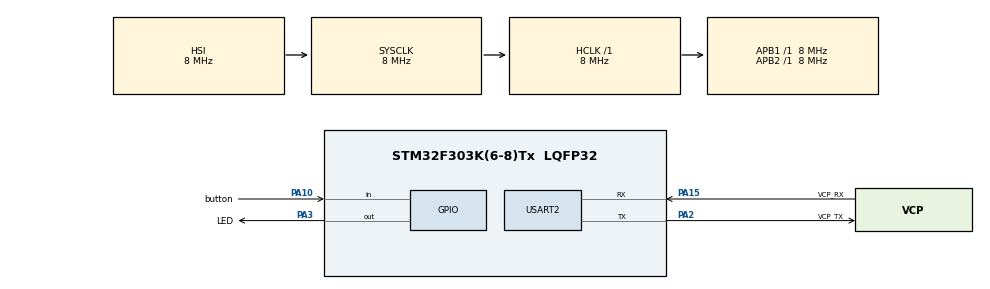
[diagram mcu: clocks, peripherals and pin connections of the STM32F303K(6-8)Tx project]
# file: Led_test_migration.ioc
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Mcu.Family=STM32F3
Mcu.Name=STM32F303K(6-8)Tx
Mcu.Package=LQFP32
NVIC.PriorityGroup=NVIC_PRIORITYGROUP_4
PA10.GPIO_Label=button
PA10.Signal=GPIO_Input
PA13.GPIO_Label=SWDIO
PA13.Mode=Serial_Wire
PA13.Signal=SYS_JTMS-SWDIO
PA14.GPIO_Label=SWCLK
PA14.Mode=Serial_Wire
PA14.Signal=SYS_JTCK-SWCLK
PA15.GPIO_Label=VCP_RX
PA15.Mode=Asynchronous
PA15.Signal=USART2_RX
PA2.GPIO_Label=VCP_TX
PA2.Mode=Asynchronous
PA2.Signal=USART2_TX
PA3.GPIO_Label=LED
PA3.Signal=GPIO_Output
PF0\ /\ OSC_IN.GPIO_Label=MCO
PF0\ /\ OSC_IN.Mode=HSE-External-Clock-Source
PF0\ /\ OSC_IN.Signal=RCC_OSC_IN
ProjectManager.HeapSize=0x200
ProjectManager.StackSize=0x400
ProjectManager.TargetToolchain=STM32CubeIDE
RCC.AHBFreq_Value=8000000
RCC.APB1Freq_Value=8000000
RCC.APB2Freq_Value=8000000
RCC.CortexFreq_Value=8000000
RCC.HSE_VALUE=8000000
RCC.HSI_VALUE=8000000
RCC.SYSCLKFreq_VALUE=8000000
USART2.VirtualMode-Asynchronous=VM_ASYNC
board=NUCLEO-F303K8

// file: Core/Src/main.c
/* USER CODE BEGIN Header */
/**
  ******************************************************************************
  * @file           : main.c
  * @brief          : Main program body
  ******************************************************************************
  * @attention
  *
  * Copyright (c) 2023 STMicroelectronics.
  * All rights reserved.
  *
  * This software is licensed under terms that can be found in the LICENSE file
  * in the root directory of this software component.
  * If no LICENSE file comes with this software, it is provided AS-IS.
  *
  ******************************************************************************
  */
/* USER CODE END Header */
#include "main.h"

/* USER CODE BEGIN PTD */
typedef enum
{
    LED_OFF,
    LED_ON_START,
    LED_DIM_ON,
    LED_DIM_OFF,
    LED_ON
}led_state_t;

/* USER CODE END PTD */

UART_HandleTypeDef huart2;

/* USER CODE BEGIN PV */
static led_state_t led_state = LED_OFF;
static uint32_t led_dim = 0;
static uint32_t led_target = 0;
static uint32_t led_delay = 100;
static uint32_t pulsos = 0;
static uint32_t cont = 0;

TIM_HandleTypeDef  TimHandle;
/* USER CODE END PV */

void SystemClock_Config(void);
static void MX_GPIO_Init(void);
static void MX_USART2_UART_Init(void);

/* USER CODE BEGIN PFP */
static void GPIO_init(void);
static void EXTI15_10_IRQHandler_Config(void);
static void TIM_Init(void);
static void generate_Dimmer(void);
static void LED_CTRL_vfnChangeIntensity (void);
static void LED_CTRL_vfnPeriodElapsedCallback (void);
//void HAL_TIM_PeriodElapsedCallback(void);
/* USER CODE END PFP */

/* USER CODE BEGIN 0 */
__IO uint32_t uwPrescalerValue = 0;
/* USER CODE END 0 */

int main(void)
{

  /* MCU Configuration--------------------------------------------------------*/

  /* Reset of all peripherals, Initializes the Flash interface and the Systick. */
  HAL_Init();

  /* Configure the system clock */
  SystemClock_Config();

  /* Initialize all configured peripherals */
  MX_GPIO_Init();
  MX_USART2_UART_Init();
  /* USER CODE BEGIN 2 */
  EXTI15_10_IRQHandler_Config();
  GPIO_init();
  TIM_Init();
  generate_Dimmer();
  /* USER CODE END 2 */
  // led 1
  while (cont <32)
  {
	  LED_CTRL_vfnChangeIntensity();
	  HAL_Delay(1000);
	  cont++;

  }

//    //led 2
//    LED_CTRL_vfnChangeIntensity();
//    HAL_Delay(4000);
//    //led 3
//    LED_CTRL_vfnChangeIntensity();
//    HAL_Delay(4000);
//    // led 4
//    LED_CTRL_vfnChangeIntensity();
//    HAL_Delay(4000);
//    //led 5
//    LED_CTRL_vfnChangeIntensity();
//    HAL_Delay(4000);
//    //led 6
//    LED_CTRL_vfnChangeIntensity();
//    HAL_Delay(4000);
//    // led 7
//     LED_CTRL_vfnChangeIntensity();
//     HAL_Delay(4000);
//     //led 8
//     LED_CTRL_vfnChangeIntensity();
//     HAL_Delay(4000);
//     //led 9
//     LED_CTRL_vfnChangeIntensity();
//     HAL_Delay(4000);
//     //led 10
//     LED_CTRL_vfnChangeIntensity();
//     HAL_Delay(4000);
//
//
//
//     // led 1
//     LED_CTRL_vfnChangeIntensity();
//     HAL_Delay(4000);
//     //led 2
//     LED_CTRL_vfnChangeIntensity();
//     HAL_Delay(4000);
//     //led 3
//     LED_CTRL_vfnChangeIntensity();
//     HAL_Delay(4000);
//     // led 4
//     LED_CTRL_vfnChangeIntensity();
//     HAL_Delay(4000);
//     //led 5
//     LED_CTRL_vfnChangeIntensity();
//     HAL_Delay(4000);
//     //led 6
//     LED_CTRL_vfnChangeIntensity();
//     HAL_Delay(4000);
//     // led 7
//      LED_CTRL_vfnChangeIntensity();
//      HAL_Delay(4000);
//      //led 8
//      LED_CTRL_vfnChangeIntensity();
//      HAL_Delay(4000);
//      //led 9
//      LED_CTRL_vfnChangeIntensity();
//      HAL_Delay(4000);
//      //led 10
//      LED_CTRL_vfnChangeIntensity();
//      HAL_Delay(4000);
//
//
//
//
//      // led 1
//      LED_CTRL_vfnChangeIntensity();
//      HAL_Delay(4000);
//      //led 2
//      LED_CTRL_vfnChangeIntensity();
//      HAL_Delay(4000);
//      //led 3
//      LED_CTRL_vfnChangeIntensity();
//      HAL_Delay(4000);
//      // led 4
//      LED_CTRL_vfnChangeIntensity();
//      HAL_Delay(4000);
//      //led 5
//      LED_CTRL_vfnChangeIntensity();
//      HAL_Delay(4000);
//      //led 6
//      LED_CTRL_vfnChangeIntensity();
//      HAL_Delay(4000);
//      // led 7
//       LED_CTRL_vfnChangeIntensity();
//       HAL_Delay(4000);
//       //led 8
//       LED_CTRL_vfnChangeIntensity();
//       HAL_Delay(4000);
//       //led 9
//       LED_CTRL_vfnChangeIntensity();
//       HAL_Delay(4000);
//       //led 10
//       LED_CTRL_vfnChangeIntensity();
//       HAL_Delay(4000);
//
//
//
//       // led 1
//       LED_CTRL_vfnChangeIntensity();
//       HAL_Delay(4000);
//       //led 2
//       LED_CTRL_vfnChangeIntensity();
//       HAL_Delay(4000);
  /* Infinite loop */
  while (1)
  {

  }
}

void SystemClock_Config(void)
{
  RCC_OscInitTypeDef RCC_OscInitStruct = {0};
  RCC_ClkInitTypeDef RCC_ClkInitStruct = {0};

  /** Initializes the RCC Oscillators according to the specified parameters
  * in the RCC_OscInitTypeDef structure.
  */
  RCC_OscInitStruct.OscillatorType = RCC_OSCILLATORTYPE_HSI;
  RCC_OscInitStruct.HSIState = RCC_HSI_ON;
  RCC_OscInitStruct.HSICalibrationValue = RCC_HSICALIBRATION_DEFAULT;
  RCC_OscInitStruct.PLL.PLLState = RCC_PLL_NONE;
  if (HAL_RCC_OscConfig(&RCC_OscInitStruct) != HAL_OK)
  {
    Error_Handler();
  }

  /** Initializes the CPU, AHB and APB buses clocks
  */
  RCC_ClkInitStruct.ClockType = RCC_CLOCKTYPE_HCLK|RCC_CLOCKTYPE_SYSCLK
                              |RCC_CLOCKTYPE_PCLK1|RCC_CLOCKTYPE_PCLK2;
  RCC_ClkInitStruct.SYSCLKSource = RCC_SYSCLKSOURCE_HSI;
  RCC_ClkInitStruct.AHBCLKDivider = RCC_SYSCLK_DIV1;
  RCC_ClkInitStruct.APB1CLKDivider = RCC_HCLK_DIV1;
  RCC_ClkInitStruct.APB2CLKDivider = RCC_HCLK_DIV1;

  if (HAL_RCC_ClockConfig(&RCC_ClkInitStruct, FLASH_LATENCY_0) != HAL_OK)
  {
    Error_Handler();
  }
}

static void MX_USART2_UART_Init(void)
{

  huart2.Instance = USART2;
  huart2.Init.BaudRate = 38400;
  huart2.Init.WordLength = UART_WORDLENGTH_8B;
  huart2.Init.StopBits = UART_STOPBITS_1;
  huart2.Init.Parity = UART_PARITY_NONE;
  huart2.Init.Mode = UART_MODE_TX_RX;
  huart2.Init.HwFlowCtl = UART_HWCONTROL_NONE;
  huart2.Init.OverSampling = UART_OVERSAMPLING_16;
  huart2.Init.OneBitSampling = UART_ONE_BIT_SAMPLE_DISABLE;
  huart2.AdvancedInit.AdvFeatureInit = UART_ADVFEATURE_NO_INIT;
  if (HAL_UART_Init(&huart2) != HAL_OK)
  {
    Error_Handler();
  }

}

static void MX_GPIO_Init(void)
{
  GPIO_InitTypeDef GPIO_InitStruct = {0};

  /* GPIO Ports Clock Enable */
  __HAL_RCC_GPIOF_CLK_ENABLE();
  __HAL_RCC_GPIOA_CLK_ENABLE();

  /*Configure GPIO pin Output Level */
  HAL_GPIO_WritePin(LED_GPIO_Port, LED_Pin, GPIO_PIN_RESET);

  /*Configure GPIO pin : LED_Pin */
  GPIO_InitStruct.Pin = LED_Pin;
  GPIO_InitStruct.Mode = GPIO_MODE_OUTPUT_PP;
  GPIO_InitStruct.Pull = GPIO_NOPULL;
  GPIO_InitStruct.Speed = GPIO_SPEED_FREQ_LOW;
  HAL_GPIO_Init(LED_GPIO_Port, &GPIO_InitStruct);

  /*Configure GPIO pin : button_Pin */
  GPIO_InitStruct.Pin = button_Pin;
  GPIO_InitStruct.Mode = GPIO_MODE_INPUT;
  GPIO_InitStruct.Pull = GPIO_NOPULL;
  HAL_GPIO_Init(button_GPIO_Port, &GPIO_InitStruct);

}

/* USER CODE BEGIN 4 */

static void TIM_Init(void)
{
//    /* Compute the prescaler value to have TIMx counter clock equal to 10000 Hz */
//    uwPrescalerValue = (uint32_t)(SystemCoreClock / 100000) - 1;
//
//
//
//    /* Set TIMx instance */
//    TimHandle.Instance = TIM3;
//
//
//
//    /* Initialize TIMx peripheral as follows:
//           + Period = 10000 - 1
//           + Prescaler = (SystemCoreClock/10000) - 1
//           + ClockDivision = 0
//           + Counter direction = Up
//     */
//    TimHandle.Init.Period            = 10 - 1; //10 us
//    TimHandle.Init.Prescaler         = uwPrescalerValue;
//    TimHandle.Init.ClockDivision     = 0;
//    TimHandle.Init.CounterMode       = TIM_COUNTERMODE_UP;
//    TimHandle.Init.RepetitionCounter = 0;
//
//
//
//    if (HAL_TIM_Base_Init(&TimHandle) != HAL_OK)
//    {
//        /* Initialization Error */
//        Error_Handler();
//    }

	TIM_ClockConfigTypeDef sClockSourceConfig = {0};
	    TIM_MasterConfigTypeDef sMasterConfig = {0};
	    /* Compute the prescaler value to have TIMx counter clock equal to 10000 Hz */
	    uwPrescalerValue = (uint32_t)(SystemCoreClock / 100000) - 1;

	    /* Set TIMx instance */
	    TimHandle.Instance = TIM3;

	    /* Initialize TIMx peripheral as follows:
	           + Period = 10000 - 1
	           + Prescaler = (SystemCoreClock/10000) - 1
	           + ClockDivision = 0
	           + Counter direction = Up
	     */
	    TimHandle.Init.Period            = 10 - 1; //10 us
	    TimHandle.Init.Prescaler         = uwPrescalerValue;
	    TimHandle.Init.ClockDivision     = 0;
	    TimHandle.Init.CounterMode       = TIM_COUNTERMODE_UP;
	    TimHandle.Init.RepetitionCounter = 0;

	    if (HAL_TIM_Base_Init(&TimHandle) != HAL_OK)
	    {
	        /* Initialization Error */
	        Error_Handler();
	    }

	    sClockSourceConfig.ClockSource = TIM_CLOCKSOURCE_INTERNAL;
	    if (HAL_TIM_ConfigClockSource(&TimHandle, &sClockSourceConfig) != HAL_OK)
	    {
	        Error_Handler();
	    }

	    sMasterConfig.MasterOutputTrigger = TIM_TRGO_RESET;
	    sMasterConfig.MasterSlaveMode = TIM_MASTERSLAVEMODE_DISABLE;
	    if (HAL_TIMEx_MasterConfigSynchronization(&TimHandle, &sMasterConfig) != HAL_OK)
	    {
	        Error_Handler();
	    }
}

void HAL_TIM_Base_MspInit(TIM_HandleTypeDef* htim)
{

    if(htim->Instance==TIM2)
    {
        /* USER CODE BEGIN TIM2_MspInit 0 */

        /* USER CODE END TIM2_MspInit 0 */
        /* TIM2 clock enable */
        __HAL_RCC_TIM2_CLK_ENABLE();
        /* USER CODE BEGIN TIM2_MspInit 1 */

        /* NVIC configuration for DMA transfer complete interrupt */
        // HAL_NVIC_SetPriority( TIM2_IRQn, configLIBRARY_MAX_SYSCALL_INTERRUPT_PRIORITY + 1, 0 );
        HAL_NVIC_EnableIRQ( TIM2_IRQn );

        /* USER CODE END TIM2_MspInit 1 */
    }
    else if(htim->Instance == TIM3)
    {
        __HAL_RCC_TIM3_CLK_ENABLE();

        HAL_NVIC_SetPriority(TIM3_IRQn, 3, 0);
        HAL_NVIC_DisableIRQ(TIM3_IRQn);
    }
}

void HAL_TIM_Base_MspDeInit(TIM_HandleTypeDef* htim)
{

    if(htim->Instance==TIM2)
    {
        /* USER CODE BEGIN TIM2_MspDeInit 0 */

        /* USER CODE END TIM2_MspDeInit 0 */
        /* Peripheral clock disable */
        __HAL_RCC_TIM2_CLK_DISABLE();
        /* USER CODE BEGIN TIM2_MspDeInit 1 */
        HAL_NVIC_DisableIRQ( TIM2_IRQn );
        /* USER CODE END TIM2_MspDeInit 1 */
    }
    else if(htim->Instance==TIM3)
    {
        /* USER CODE BEGIN TIM2_MspDeInit 0 */

        /* USER CODE END TIM2_MspDeInit 0 */
        /* Peripheral clock disable */
        __HAL_RCC_TIM3_CLK_DISABLE();
        /* USER CODE BEGIN TIM2_MspDeInit 1 */
        HAL_NVIC_DisableIRQ(TIM3_IRQn );
        /* USER CODE END TIM2_MspDeInit 1 */
    }
}

void TIM3_IRQHandler(void)
{
  HAL_TIM_IRQHandler(&TimHandle);
}

static void generate_Dimmer(void)
{
    /*##-2- Start the TIM Base generation in interrupt mode ####################*/
    /* Start Channel1 */
    if (HAL_TIM_Base_Start_IT(&TimHandle) != HAL_OK)
    {
        /* Starting Error */
        Error_Handler();
    }

}

static void GPIO_init(void)
{
    GPIO_InitTypeDef GPIOinit = {0};
    __HAL_RCC_GPIOA_CLK_ENABLE();
    HAL_GPIO_WritePin(LED_GPIO_Port, LED_Pin, RESET);
    GPIOinit.Pin = LED_Pin;
    GPIOinit.Mode = GPIO_MODE_OUTPUT_PP;
    GPIOinit.Pull = GPIO_NOPULL;
    GPIOinit.Speed = GPIO_SPEED_LOW;
    HAL_GPIO_Init(LED_GPIO_Port, &GPIOinit);

}

void HAL_TIM_PeriodElapsedCallback(TIM_HandleTypeDef *htim)
{
    if(htim->Instance == TIM3)
    {
        LED_CTRL_vfnPeriodElapsedCallback();
    }
}

void LED_CTRL_vfnPeriodElapsedCallback(void)
{
    switch (led_state) {
        case LED_OFF:
        {
            HAL_GPIO_WritePin(LED_GPIO_Port, LED_Pin, SET);
            led_delay--;
            if(led_delay == 0)
            {
                led_delay = 3;
                led_state = LED_ON_START;
            }

            break;
        }
        case LED_ON_START:
        {
            HAL_GPIO_WritePin(LED_GPIO_Port, LED_Pin, SET);
            led_delay--;
            if(led_delay == 0)
            {
                led_delay = 100;
                led_state = LED_DIM_OFF;
            }
            //BSP_LED_Off(LED1);

            break;
        }
        case LED_DIM_OFF:
        {
            HAL_GPIO_WritePin(LED_GPIO_Port, LED_Pin, RESET);
            //BSP_LED_Off(LED1);
            if(led_dim == 0)
            {
                led_state = LED_ON;
            }
            else
            {
                led_state = LED_DIM_ON;
                led_dim--;
            }
            break;
        }
        case LED_DIM_ON:
        {
            HAL_GPIO_WritePin(LED_GPIO_Port, LED_Pin, SET);
            //BSP_LED_On(LED1);
            led_state = LED_DIM_OFF;
            break;
        }
        case LED_ON:
        {
            HAL_GPIO_WritePin(LED_GPIO_Port, LED_Pin, SET);
            //BSP_LED_On(LED1);
            HAL_NVIC_DisableIRQ(TIM3_IRQn);
            break;
        }
        default:
        {
            break;
        }
    }
}

static void EXTI15_10_IRQHandler_Config(void)
{
  GPIO_InitTypeDef   GPIO_InitStructure;

  /* Enable GPIOC clock */
  __HAL_RCC_GPIOC_CLK_ENABLE();

  /* Configure PC.13 pin as input floating */
  GPIO_InitStructure.Mode = GPIO_MODE_IT_RISING;
  GPIO_InitStructure.Pull = GPIO_NOPULL;
  GPIO_InitStructure.Pin = GPIO_PIN_12;
  HAL_GPIO_Init(GPIOC, &GPIO_InitStructure);

  /* Enable and set EXTI line 15_10 Interrupt to the lowest priority */
  HAL_NVIC_SetPriority(EXTI15_10_IRQn, 2, 0);
  HAL_NVIC_EnableIRQ(EXTI15_10_IRQn);
}

void HAL_GPIO_EXTI_Callback(uint16_t GPIO_Pin)
{
  if (GPIO_Pin == GPIO_PIN_12)
  {
    /* Toggle LED1 */
//      led_target++;
//      if(led_target == 1)
//      {
//          led_target = 0;
//      }
      LED_CTRL_vfnChangeIntensity();

  }
}

void LED_CTRL_vfnChangeIntensity (void)
{
      led_target = pulsos;
      led_state = LED_OFF;
      led_dim = led_target;
      HAL_NVIC_EnableIRQ(TIM3_IRQn);
}

/* USER CODE END 4 */

void Error_Handler(void)
{
  __disable_irq();
  while (1)
  {
  }
}
